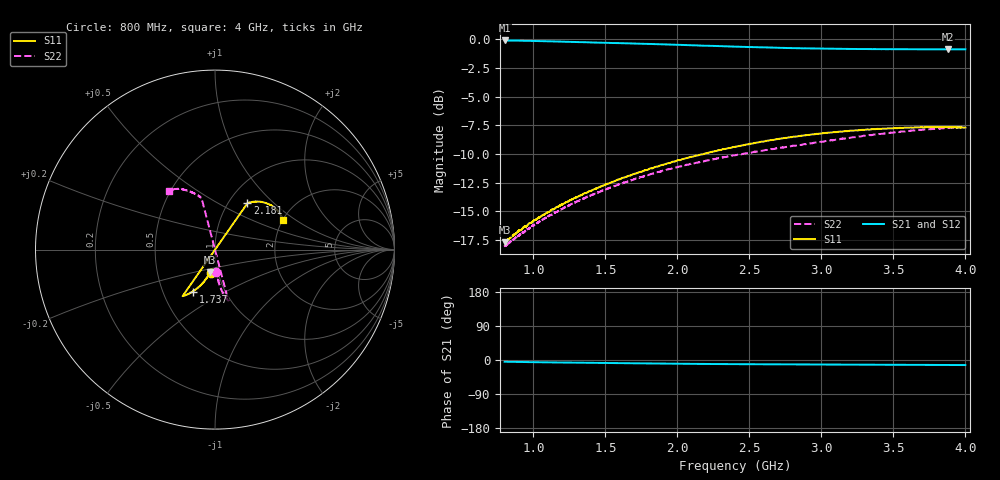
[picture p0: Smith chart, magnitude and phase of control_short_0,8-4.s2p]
!Created with skrf (http://scikit-rf.org).
# GHz S RI R 50.0
!freq ReS11 ImS11 ReS21 ImS21 ReS12 ImS12 ReS22 ImS22
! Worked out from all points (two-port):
!   5001 points, 800 MHz to 4 GHz, reference 50 ohm
!   highest |S21| = -0.09 dB at 802.6 MHz (marker M1); lowest = -0.9 dB at 3.878 GHz (marker M2)
!   |S21| within 3 dB of the highest: start of sweep to end of sweep
!   lowest |S11| = -17.7 dB at 801.9 MHz (marker M3), VSWR 1.30, Z = 45.8 - j11.9 ohm
!   |S11| at or under -10 dB: start of sweep to 2.182 GHz
!   |S22| runs from -18.0 to -7.6 dB; largest |S21 - S12| = 0.0052
!   S11 on the Smith chart (normalised r, x): 800 MHz: 0.93, -0.24; 1.737 GHz: 0.71, -0.36; 2.181 GHz: 1.22, +0.70; 4 GHz: 2.00, +0.80
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0.8  -0.0224 -0.1297  0.9862 -0.0784  0.9863 -0.0785  0.00334 -0.1256
0.80192  -0.0278 -0.1273  0.986 -0.0788  0.9861 -0.0785  0.00923 -0.125
0.80256  -0.0278 -0.1276  0.9864 -0.079  0.9858 -0.0788  0.00948 -0.125
0.91648  -0.0369 -0.1432  0.9831 -0.0896  0.9826 -0.0882  0.0121 -0.1422
1.03168  -0.0469 -0.1596  0.9774 -0.1008  0.9779 -0.0978  0.0152 -0.1582
1.16928  -0.0604 -0.1762  0.9726 -0.1117  0.972 -0.1099  0.0197 -0.1768
1.33376  -0.077 -0.1946  0.9654 -0.1219  0.9655 -0.1215  0.0262 -0.1987
1.5584  -0.1015 -0.2174  0.9546 -0.1367  0.9551 -0.1347  0.0365 -0.2257
1.73696  -0.1226 -0.2337  0.9465 -0.1473  0.947 -0.1455  0.0455 -0.2456
1.86688  -0.1386 -0.2428  0.9404 -0.155  0.9416 -0.1524  0.0541 -0.2585
2.0992  -0.1704 -0.256  0.9285 -0.1693  0.9296 -0.1645  0.068 -0.2785
2.16448  -0.1789 -0.2589  0.9243 -0.1688  0.9259 -0.1676  0.0726 -0.2837
2.18112  0.1808 0.2592  0.9235 -0.1693  0.9252 -0.1685  -0.074 0.2839
2.19712  0.1838 0.2602  0.9231 -0.1699  0.9244 -0.1688  -0.0746 0.2861
2.4  0.2116 0.2661  0.9134 -0.1767  0.914 -0.176  -0.0908 0.2987
2.62848  0.2431 0.2675  0.9043 -0.1801  0.9037 -0.1795  -0.1105 0.3103
2.93376  0.2845 0.2595  0.8935 -0.1869  0.8931 -0.1854  -0.1403 0.3231
3.20256  0.3157 0.2456  0.888 -0.1929  0.8875 -0.19  -0.1668 0.3328
3.46688  0.3418 0.2251  0.885 -0.1981  0.8837 -0.1966  -0.1955 0.3374
3.70112  0.3603 0.2033  0.8827 -0.2021  0.8816 -0.2023  -0.2215 0.3371
3.8784  0.372 0.1821  0.8808 -0.206  0.8799 -0.2068  -0.2421 0.3322
4  0.3777 0.1654  0.8808 -0.2094  0.8806 -0.2083  -0.2589 0.3256
